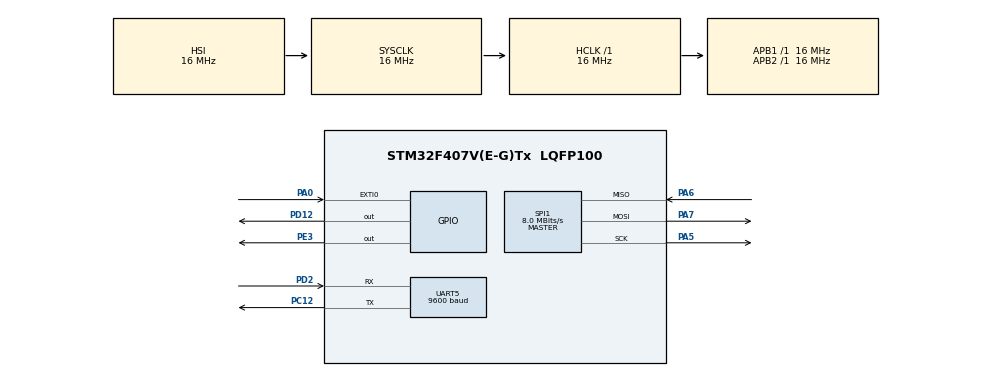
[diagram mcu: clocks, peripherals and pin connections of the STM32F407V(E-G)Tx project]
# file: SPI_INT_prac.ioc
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Mcu.Family=STM32F4
Mcu.Name=STM32F407V(E-G)Tx
Mcu.Package=LQFP100
NVIC.EXTI0_IRQn=true\:0\:0\:false\:false\:true\:true\:true\:true
NVIC.PriorityGroup=NVIC_PRIORITYGROUP_4
NVIC.SPI1_IRQn=true\:0\:0\:false\:false\:true\:true\:true\:true
PA0-WKUP.Signal=GPXTI0
PA5.Mode=Full_Duplex_Master
PA5.Signal=SPI1_SCK
PA6.Mode=Full_Duplex_Master
PA6.Signal=SPI1_MISO
PA7.Mode=Full_Duplex_Master
PA7.Signal=SPI1_MOSI
PC12.Mode=Asynchronous
PC12.Signal=UART5_TX
PD12.Signal=GPIO_Output
PD2.Mode=Asynchronous
PD2.Signal=UART5_RX
PE3.PinState=GPIO_PIN_SET
PE3.Signal=GPIO_Output
ProjectManager.HeapSize=0x200
ProjectManager.StackSize=0x400
ProjectManager.TargetToolchain=STM32CubeIDE
RCC.AHBFreq_Value=16000000
RCC.APB1Freq_Value=16000000
RCC.APB2Freq_Value=16000000
RCC.CortexFreq_Value=16000000
RCC.HSE_VALUE=25000000
RCC.HSI_VALUE=16000000
RCC.LSE_VALUE=32768
RCC.SYSCLKFreq_VALUE=16000000
RCC.VCOOutputFreq_Value=192000000
SPI1.CalculateBaudRate=8.0 MBits/s
SPI1.Direction=SPI_DIRECTION_2LINES
SPI1.Mode=SPI_MODE_MASTER
SPI1.VirtualType=VM_MASTER
UART5.BaudRate=9600
UART5.VirtualMode=Asynchronous
board=custom

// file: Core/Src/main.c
/* USER CODE BEGIN Header */
/**
  ******************************************************************************
  * @file           : main.c
  * @brief          : Main program body
  ******************************************************************************
  * @attention
  *
  * Copyright (c) 2024 STMicroelectronics.
  * All rights reserved.
  *
  * This software is licensed under terms that can be found in the LICENSE file
  * in the root directory of this software component.
  * If no LICENSE file comes with this software, it is provided AS-IS.
  *
  ******************************************************************************
  */
/* USER CODE END Header */
#include "main.h"
//Practice Problem 1
/* USER CODE BEGIN Includes */
#include<stdlib.h>
#include<stdio.h>
#include<string.h>
/* USER CODE END Includes */

SPI_HandleTypeDef hspi1;

UART_HandleTypeDef huart5;

/* USER CODE BEGIN PV */
uint8_t rx_x,rx_y,rx_z;
uint8_t  txbuffer[2];
char buffer[50];
int ba_rate;
/* USER CODE END PV */

void SystemClock_Config(void);
static void MX_GPIO_Init(void);
static void MX_SPI1_Init(void);
static void MX_UART5_Init(void);

int main(void)
{

  /* MCU Configuration--------------------------------------------------------*/

  /* Reset of all peripherals, Initializes the Flash interface and the Systick. */
  HAL_Init();

  /* Configure the system clock */
  SystemClock_Config();

  /* Initialize all configured peripherals */
  MX_GPIO_Init();
  MX_SPI1_Init();
  MX_UART5_Init();
  /* USER CODE BEGIN 2 */
  HAL_GPIO_WritePin(GPIOE, GPIO_PIN_3,0);//chip select pulled low
   txbuffer[0]=0x20;//address of control register
   txbuffer[1]=0x17;
   HAL_SPI_Transmit(&hspi1, txbuffer, 2, 50);
   HAL_GPIO_WritePin(GPIOE, GPIO_PIN_3,1);//chip pulled high
  /* USER CODE END 2 */

  /* Infinite loop */
  /* USER CODE BEGIN WHILE */
  while (1)
  {
	  HAL_GPIO_WritePin(GPIOE, GPIO_PIN_3,0);//cs pulled low
	  	  	  txbuffer[0]= 0x29 |0x80; //to read the address as valid data comes on high address we use 29 and or to make msb 1
	  	  	  HAL_SPI_Transmit(&hspi1, txbuffer, 1, 50);
	  	  	  HAL_SPI_Receive(&hspi1, &rx_x, 1,50);//as data from high line only 8 bits i.e 1 byte
	  	  	  HAL_GPIO_WritePin(GPIOE, GPIO_PIN_3, 1);//make cs high
	  	  	  //read the data from registers outy
	  	  	  	  HAL_GPIO_WritePin(GPIOE, GPIO_PIN_3,0);//cs pulled low
	  	  	  	  txbuffer[0]= 0x2B | 0x80; //to read the address as valid data comes on high address we use 29 and or to make msb 1
	  	  	  	  HAL_SPI_Transmit(&hspi1, txbuffer, 1, 50);
	  	  	  	  HAL_SPI_Receive(&hspi1, &rx_y, 1,50);//as data from high line only 8 bits i.e 1 byte
	  	  	  	  HAL_GPIO_WritePin(GPIOE, GPIO_PIN_3, 1);//make cs high
	  	  	  	//read the data from registers outz
	  	  	  		  HAL_GPIO_WritePin(GPIOE, GPIO_PIN_3,0);//cs pulled low
	  	  	  		  txbuffer[0]= 0x2D |0x80; //to read the address as valid data comes on high address we use 29 and or to make msb 1
	  	  	  		  HAL_SPI_Transmit(&hspi1, txbuffer, 1, 50);
	  	  	  		  HAL_SPI_Receive(&hspi1, &rx_z, 1,50);//as data from high line only 8 bits i.e 1 byte
	  	  	  		  HAL_GPIO_WritePin(GPIOE, GPIO_PIN_3, 1);//make cs high
	  	  	  		 sprintf(buffer,"x=%d,y=%d,z=%d\r\r\n",rx_x,rx_y,rx_z);
	  	  	  		 HAL_UART_Transmit(&huart5, (uint8_t*)buffer, sizeof(buffer), 10);
	  	  	  		  bzero(buffer,sizeof(buffer));
	  	  	  		  ba_rate = huart5.Init.BaudRate;
    /* USER CODE END WHILE */

  }
}

void SystemClock_Config(void)
{
  RCC_OscInitTypeDef RCC_OscInitStruct = {0};
  RCC_ClkInitTypeDef RCC_ClkInitStruct = {0};

  /** Configure the main internal regulator output voltage
  */
  __HAL_RCC_PWR_CLK_ENABLE();
  __HAL_PWR_VOLTAGESCALING_CONFIG(PWR_REGULATOR_VOLTAGE_SCALE1);

  /** Initializes the RCC Oscillators according to the specified parameters
  * in the RCC_OscInitTypeDef structure.
  */
  RCC_OscInitStruct.OscillatorType = RCC_OSCILLATORTYPE_HSI;
  RCC_OscInitStruct.HSIState = RCC_HSI_ON;
  RCC_OscInitStruct.HSICalibrationValue = RCC_HSICALIBRATION_DEFAULT;
  RCC_OscInitStruct.PLL.PLLState = RCC_PLL_NONE;
  if (HAL_RCC_OscConfig(&RCC_OscInitStruct) != HAL_OK)
  {
    Error_Handler();
  }

  /** Initializes the CPU, AHB and APB buses clocks
  */
  RCC_ClkInitStruct.ClockType = RCC_CLOCKTYPE_HCLK|RCC_CLOCKTYPE_SYSCLK
                              |RCC_CLOCKTYPE_PCLK1|RCC_CLOCKTYPE_PCLK2;
  RCC_ClkInitStruct.SYSCLKSource = RCC_SYSCLKSOURCE_HSI;
  RCC_ClkInitStruct.AHBCLKDivider = RCC_SYSCLK_DIV1;
  RCC_ClkInitStruct.APB1CLKDivider = RCC_HCLK_DIV1;
  RCC_ClkInitStruct.APB2CLKDivider = RCC_HCLK_DIV1;

  if (HAL_RCC_ClockConfig(&RCC_ClkInitStruct, FLASH_LATENCY_0) != HAL_OK)
  {
    Error_Handler();
  }
}

static void MX_SPI1_Init(void)
{

  /* SPI1 parameter configuration*/
  hspi1.Instance = SPI1;
  hspi1.Init.Mode = SPI_MODE_MASTER;
  hspi1.Init.Direction = SPI_DIRECTION_2LINES;
  hspi1.Init.DataSize = SPI_DATASIZE_8BIT;
  hspi1.Init.CLKPolarity = SPI_POLARITY_LOW;
  hspi1.Init.CLKPhase = SPI_PHASE_1EDGE;
  hspi1.Init.NSS = SPI_NSS_SOFT;
  hspi1.Init.BaudRatePrescaler = SPI_BAUDRATEPRESCALER_2;
  hspi1.Init.FirstBit = SPI_FIRSTBIT_MSB;
  hspi1.Init.TIMode = SPI_TIMODE_DISABLE;
  hspi1.Init.CRCCalculation = SPI_CRCCALCULATION_DISABLE;
  hspi1.Init.CRCPolynomial = 10;
  if (HAL_SPI_Init(&hspi1) != HAL_OK)
  {
    Error_Handler();
  }

}

static void MX_UART5_Init(void)
{

  huart5.Instance = UART5;
  huart5.Init.BaudRate = 9600;
  huart5.Init.WordLength = UART_WORDLENGTH_8B;
  huart5.Init.StopBits = UART_STOPBITS_1;
  huart5.Init.Parity = UART_PARITY_NONE;
  huart5.Init.Mode = UART_MODE_TX_RX;
  huart5.Init.HwFlowCtl = UART_HWCONTROL_NONE;
  huart5.Init.OverSampling = UART_OVERSAMPLING_16;
  if (HAL_UART_Init(&huart5) != HAL_OK)
  {
    Error_Handler();
  }

}

static void MX_GPIO_Init(void)
{
  GPIO_InitTypeDef GPIO_InitStruct = {0};

  /* GPIO Ports Clock Enable */
  __HAL_RCC_GPIOE_CLK_ENABLE();
  __HAL_RCC_GPIOA_CLK_ENABLE();
  __HAL_RCC_GPIOD_CLK_ENABLE();
  __HAL_RCC_GPIOC_CLK_ENABLE();

  /*Configure GPIO pin Output Level */
  HAL_GPIO_WritePin(GPIOE, GPIO_PIN_3, GPIO_PIN_SET);

  /*Configure GPIO pin Output Level */
  HAL_GPIO_WritePin(GPIOD, GPIO_PIN_12, GPIO_PIN_RESET);

  /*Configure GPIO pin : PE3 */
  GPIO_InitStruct.Pin = GPIO_PIN_3;
  GPIO_InitStruct.Mode = GPIO_MODE_OUTPUT_PP;
  GPIO_InitStruct.Pull = GPIO_NOPULL;
  GPIO_InitStruct.Speed = GPIO_SPEED_FREQ_LOW;
  HAL_GPIO_Init(GPIOE, &GPIO_InitStruct);

  /*Configure GPIO pin : PA0 */
  GPIO_InitStruct.Pin = GPIO_PIN_0;
  GPIO_InitStruct.Mode = GPIO_MODE_IT_RISING;
  GPIO_InitStruct.Pull = GPIO_NOPULL;
  HAL_GPIO_Init(GPIOA, &GPIO_InitStruct);

  /*Configure GPIO pin : PD12 */
  GPIO_InitStruct.Pin = GPIO_PIN_12;
  GPIO_InitStruct.Mode = GPIO_MODE_OUTPUT_PP;
  GPIO_InitStruct.Pull = GPIO_NOPULL;
  GPIO_InitStruct.Speed = GPIO_SPEED_FREQ_LOW;
  HAL_GPIO_Init(GPIOD, &GPIO_InitStruct);

  /* EXTI interrupt init*/
  HAL_NVIC_SetPriority(EXTI0_IRQn, 0, 0);
  HAL_NVIC_EnableIRQ(EXTI0_IRQn);

}

/* USER CODE BEGIN 4 */
void HAL_GPIO_EXTI_Callback(uint16_t GPIO_Pin)
{
	//HAL_UART_AbortTransmit(&huart5);
	HAL_UART_DeInit(&huart5);
	huart5.Init.BaudRate=57600;
	HAL_UART_Init(&huart5);
	sprintf(buffer,"x=%d,y=%d,z=%d,baud rate = %d\r\n",rx_x,rx_y,rx_z,ba_rate);
	HAL_UART_Transmit(&huart5, (uint8_t*)buffer, sizeof(buffer), 10);
	bzero(buffer,sizeof(buffer));
}
/* USER CODE END 4 */

void Error_Handler(void)
{
  __disable_irq();
  while (1)
  {
  }
}
